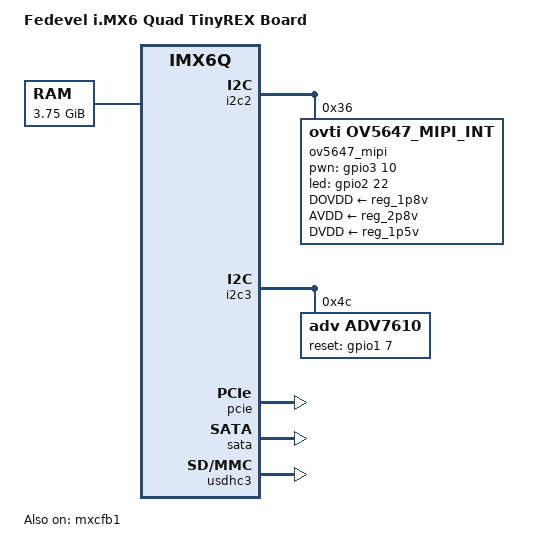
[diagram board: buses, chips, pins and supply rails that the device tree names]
/*
 * Copyright (C) 2015-2017 Voipac.
 *
 * The code contained herein is licensed under the GNU General Public
 * License. You may obtain a copy of the GNU General Public License
 * Version 2 or later at the following locations:
 *
 * http://www.opensource.org/licenses/gpl-license.html
 * http://www.gnu.org/copyleft/gpl.html
 */

/dts-v1/;

#include "imx6q.dtsi"
#include "imx6qdl-tinyrex.dtsi"

/ {
	model = "Fedevel i.MX6 Quad TinyREX Board";
	compatible = "fsl,imx6q-tinyrex", "fsl,imx6q";

	memory: memory {
		reg = <0x10000000 0xF0000000>;
	};
};

&i2c2 {
	/* Raspberry Pi camera rev 1.3 */
	ov5647_mipi: ov5647_mipi@36 {
		compatible = "ovti,ov5647_mipi_int";
		reg = <0x36>;
		/* Pi camera has its own 25MHz clock. */
		clocks = <&clks IMX6QDL_CLK_DUMMY>;
		clock-names = "csi_mclk";
		DOVDD-supply = <&reg_1p8v>;
		AVDD-supply = <&reg_2p8v>;
		DVDD-supply = <&reg_1p5v>;
		pwn-gpios = <&gpio3 10 GPIO_ACTIVE_HIGH>;
		led-gpios = <&gpio2 22 GPIO_ACTIVE_HIGH>;
		csi_id = <1>;
		mclk = <25000000>;
		mclk_source = <0>;
		pinctrl-names = "default";
		pinctrl-0 = <&pinctrl_ov5647_mipi>;
	};
};

&i2c3 {
	adv7610: adv7610@4c {
		compatible = "adv,adv7610";
		reg = <0x4c>;
		pinctrl-names = "default";
		pinctrl-0 = <&pinctrl_ipu1_csi0>;
		csi_id = <0>;
		reset-gpio = <&gpio1 7 GPIO_ACTIVE_HIGH>;
	};
};

&mxcfb1 {
	status = "okay";
};

&mxcfb2 {
	status = "disabled";
};

&mxcfb3 {
	status = "disabled";
};

&mxcfb4 {
	status = "disabled";
};

&pcie {
	status = "okay";
};

&sata {
	status = "okay";
};

&usdhc3 {
	status = "okay";
};
